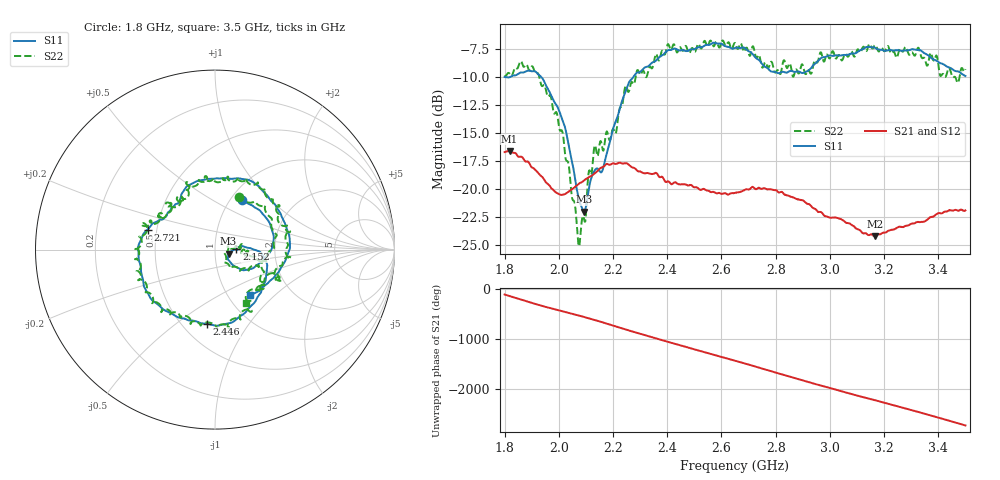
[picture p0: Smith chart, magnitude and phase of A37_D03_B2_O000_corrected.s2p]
! Created with skrf 1.9.0 (http://scikit-rf.org).
# Hz S RI R 50.0
!freq ReS11 ImS11 ReS21 ImS21 ReS12 ImS12 ReS22 ImS22
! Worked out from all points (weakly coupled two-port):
!   1601 points, 1.8 GHz to 3.5 GHz, reference 50 ohm
!   highest |S21| = -16.60 dB at 1.818 GHz (marker M1); lowest = -24.2 dB at 3.165 GHz (marker M2)
!   lowest |S11| = -22.0 dB at 2.093 GHz (marker M3), VSWR 1.17, Z = 58.1 - j2.73 ohm
!   |S11| at or under -10 dB: 1.803 GHz to 1.82 GHz (16.26 MHz wide, 0.898 % of centre); 1.936 GHz to 2.274 GHz (338.8 MHz wide, 16.1 % of centre)
!   |S22| runs from -25.1 to -6.7 dB; largest |S21 - S12| = 0.0025
!   S11 on the Smith chart (normalised r, x): 1.8 GHz: 1.13, +0.70; 2.152 GHz: 1.27, +0.01; 2.446 GHz: 0.65, -0.65; 2.721 GHz: 0.44, +0.12; 3.5 GHz: 1.26, -0.71
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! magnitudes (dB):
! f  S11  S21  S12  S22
! 1.8 GHz  -10.0  -16.7  -16.7  -9.8
! 1.818 GHz  -10.0  -16.6  -16.6  -9.7
! 1.903 GHz  -9.5  -18.1  -18.1  -9.0
! 1.968 GHz  -11.4  -19.8  -19.8  -11.6
! 2.014 GHz  -13.8  -20.5  -20.5  -14.9
! 2.072 GHz  -20.7  -19.6  -19.6  -24.9
! 2.084 GHz  -21.6  -19.4  -19.3  -23.0
! 2.093 GHz  -22.0  -19.2  -19.3  -22.7
! 2.129 GHz  -18.5  -18.7  -18.7  -16.5
! 2.152 GHz  -18.4  -18.2  -18.2  -15.8
! 2.209 GHz  -14.0  -17.8  -17.7  -15.0
! 2.259 GHz  -10.5  -17.8  -17.8  -11.2
! 2.367 GHz  -8.3  -18.8  -18.8  -8.5
! 2.446 GHz  -7.6  -19.6  -19.6  -7.3
! 2.65 GHz  -7.4  -20.4  -20.3  -7.0
! 2.721 GHz  -8.1  -19.9  -19.8  -7.6
! 2.803 GHz  -9.6  -20.1  -20.2  -9.5
! 2.934 GHz  -9.1  -21.6  -21.6  -9.5
! 3.165 GHz  -7.4  -24.2  -24.2  -7.2
! 3.217 GHz  -7.6  -23.7  -23.7  -7.4
! 3.469 GHz  -9.5  -21.9  -21.9  -10.4
! 3.5 GHz  -9.9  -21.9  -21.9  -9.3
